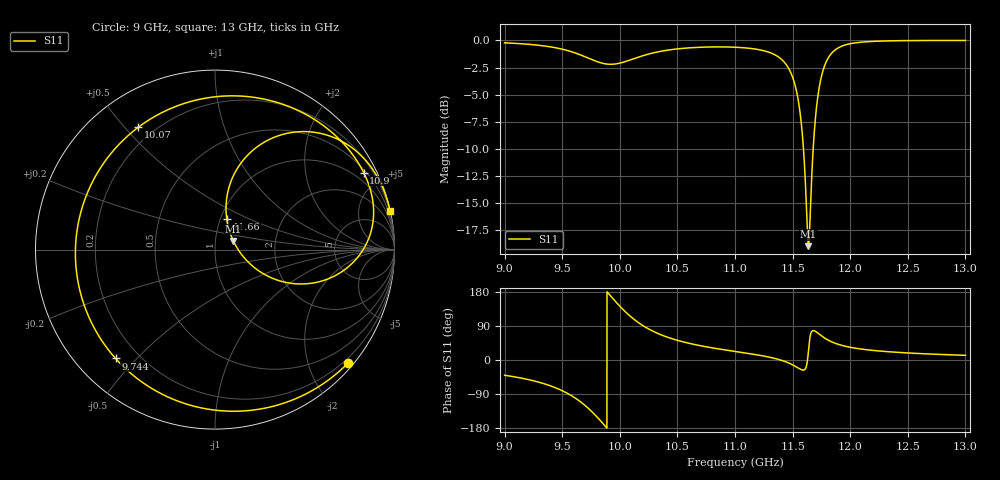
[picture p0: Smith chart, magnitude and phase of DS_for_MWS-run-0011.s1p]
! TOUCHSTONE file generated by CST DESIGN STUDIO
! Date and time: Tue Feb  4 14:30:15 2025
! Project name: C:\Work\MatlabApps\UnitCellOptimizationMatlab\CST\unitcell.cst
! Tree item: Tasks\Sweep1\SPara1\S-Parameters
! Header version: 2024
! Port assignment regex: !\s*Touchstone port\s*([0-9]+)\s*=\s*(CST MWS port|CST DES external port|CST DES block port)\s*(.+)\s* \(\"(.*)\"\)(\s*mode\s*([0-9]+))?.*
! Touchstone port assignment:
! Touchstone port 1 = CST DES external port 1 ("")
# GHz S MA R 50
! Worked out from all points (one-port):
!   4001 points, 9 GHz to 13 GHz, reference 50 ohm
!   lowest |S11| = -18.9 dB at 11.64 GHz (marker M1), VSWR 1.25, Z = 61 + j6 ohm
!   |S11| at or under -10 dB: 11.59 GHz to 11.68 GHz (83.95 MHz wide, 0.721 % of centre)
!   S11 on the Smith chart (normalised r, x): 9 GHz: 0.11, -2.73; 9.744 GHz: 0.12, -0.44; 10.07 GHz: 0.14, +0.54; 10.9 GHz: 0.61, +4.02; 11.66 GHz: 1.07, +0.37; 13 GHz: 0.04, +9.26
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9  0.9743 -40.2
9.282  0.9511 -57.3
9.5  0.911 -81.0
9.634  0.8673 -104.8
9.744  0.8214 -132.4
9.875  0.7795 -175.1
9.935  0.7761 163.8
10  0.7855 142.0
10.066  0.8045 122.2
10.142  0.8306 103.0
10.23  0.8591 85.3
10.358  0.891 66.5
10.5  0.9135 51.9
10.897  0.9329 27.4
11  0.9298 22.6
11.333  0.8652 5.1
11.429  0.7924 -3.5
11.5  0.6769 -12.8
11.573  0.4275 -25.1
11.625  0.1471 -9.2
11.638  0.1129 25.4
11.657  0.181 68.7
11.698  0.4376 75.6
11.755  0.6982 62.8
11.861  0.8963 45.1
12  0.9651 33.6
12.5  0.9975 18.6
13  0.999 12.3
